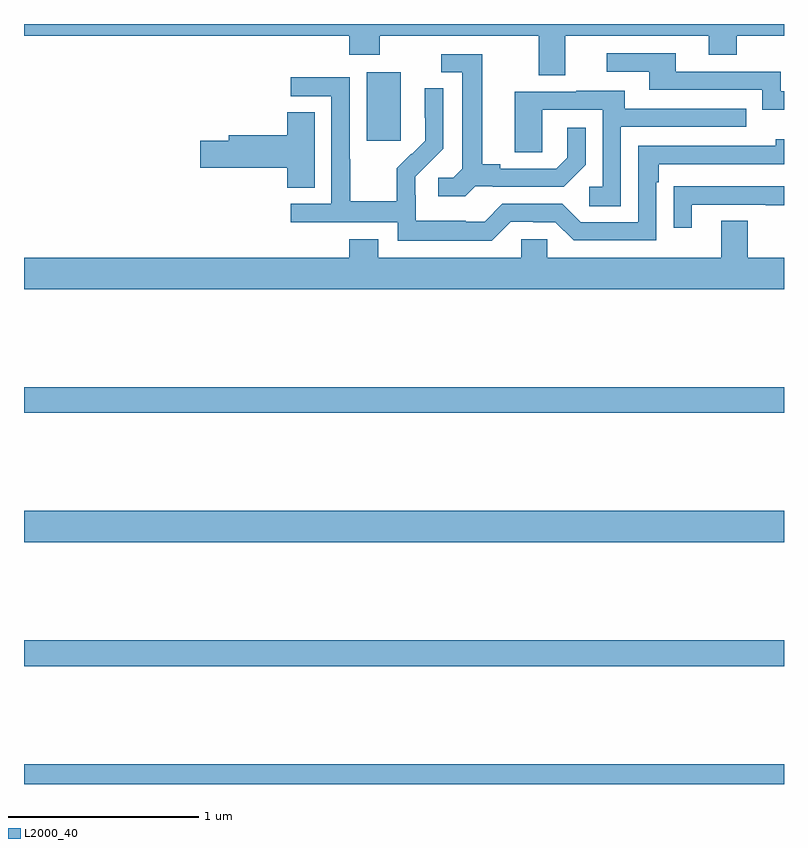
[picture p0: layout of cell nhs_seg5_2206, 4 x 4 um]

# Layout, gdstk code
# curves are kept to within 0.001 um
import gdstk
lib = gdstk.Library(unit=1e-6, precision=1e-09)
def R(c, l, rs):  # rectangles x0, y0, x1, y1
    for r in rs: c.add(gdstk.rectangle(r[:2], r[2:], *l))
def P(c, l, *ps):  # polygons
    for p in ps: c.add(gdstk.Polygon(p, *l))
L2000_40 = (2000, 40)

nhs_seg5_2206 = lib.new_cell('nhs_seg5_2206')
R(nhs_seg5_2206, L2000_40, [(239,876.799,243,876.904), (239,877.42,243,877.556), (239,878.072,243,878.236), (239,878.752,243,878.888), (240.803,880.185,240.982,880.546)])
P(nhs_seg5_2206, L2000_40, [(241.849,880.736),(242.603,880.736),(242.603,880.637),(242.751,880.637),(242.751,880.736),(243,880.736),(243,880.799),(239,880.799),(239,880.736),(240.713,880.736),(240.713,880.637),(240.873,880.637),(240.873,880.736),(241.709,880.736),(241.709,880.528),(241.849,880.528)],
  [(243,880.446),(242.982,880.446),(242.982,880.548),(242.431,880.548),(242.431,880.644),(242.067,880.644),(242.067,880.548),(242.291,880.548),(242.291,880.452),(242.886,880.452),(242.886,880.349),(243,880.349)],
  [(241.374,879.945),(241.468,879.945),(241.468,879.942),(241.84,879.942),(241.956,880.058),(241.956,880.252),(241.859,880.252),(241.859,880.095),(241.802,880.038),(241.507,880.038),(241.507,880.061),(241.411,880.061),(241.411,880.641),(241.197,880.641),(241.197,880.545),(241.307,880.545),(241.307,880.037),(241.26,879.99),(241.179,879.99),(241.179,879.893),(241.322,879.893)],
  [(241.563,879.759),(241.679,879.759),(241.679,879.756),(241.797,879.756),(241.893,879.66),(242.328,879.66),(242.328,879.965),(242.341,879.965),(242.341,880.062),(243,880.062),(243,880.192),(242.957,880.192),(242.957,880.158),(242.232,880.158),(242.232,879.756),(241.929,879.756),(241.833,879.852),(241.518,879.852),(241.425,879.759),(241.325,879.759),(241.325,879.763),(241.062,879.763),(241.062,879.897),(241.06,879.897),(241.06,879.994),(241.206,880.142),(241.206,880.46),(241.11,880.46),(241.11,880.306),(241.112,880.306),(241.112,880.184),(241.041,880.113),(241.038,880.116),(240.961,880.039),(240.961,879.865),(240.717,879.865),(240.717,880.088),(240.714,880.088),(240.714,880.518),(240.405,880.518),(240.405,880.419),(240.618,880.419),(240.618,879.852),(240.405,879.852),(240.405,879.756),(240.966,879.756),(240.966,879.659),(241.463,879.659)],
  [(242.142,880.257),(242.801,880.257),(242.801,880.353),(242.161,880.353),(242.161,880.447),(241.907,880.447),(241.907,880.443),(241.583,880.443),(241.583,880.123),(241.728,880.123),(241.728,880.347),(242.046,880.347),(242.046,879.942),(241.974,879.942),(241.974,879.841),(242.142,879.841)],
  [(240.529,880.334),(240.386,880.334),(240.386,880.214),(240.077,880.214),(240.077,880.184),(239.928,880.184),(239.928,880.042),(240.386,880.042),(240.386,879.937),(240.529,879.937)],
  [(242.515,879.849),(242.905,879.849),(242.905,879.844),(243,879.844),(243,879.945),(242.521,879.945),(242.521,879.944),(242.419,879.944),(242.419,879.726),(242.515,879.726)],
  [(243,879.568),(242.809,879.568),(242.809,879.763),(242.669,879.763),(242.669,879.568),(241.755,879.568),(241.755,879.666),(241.617,879.666),(241.617,879.568),(240.865,879.568),(240.865,879.667),(240.713,879.667),(240.713,879.568),(239,879.568),(239,879.404),(243,879.404)])

lib.write_gds('nhs_seg5_2206.gds')
